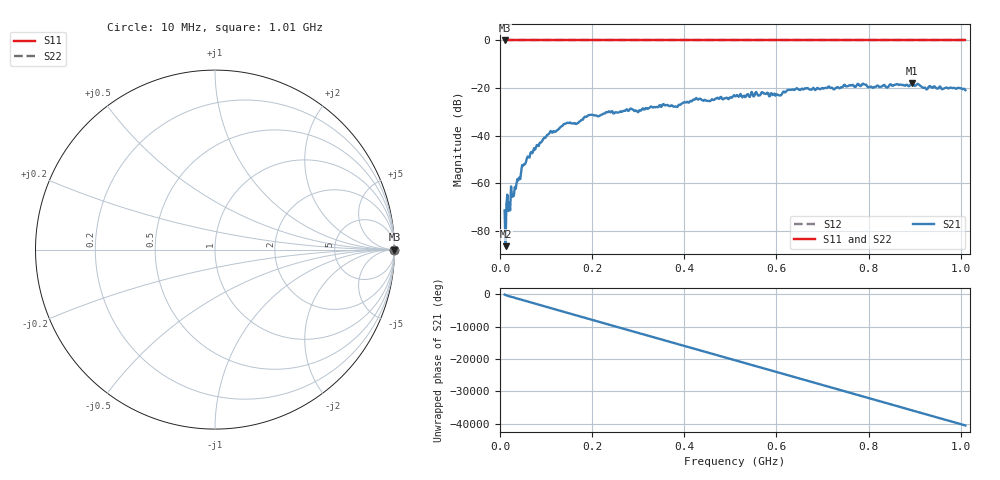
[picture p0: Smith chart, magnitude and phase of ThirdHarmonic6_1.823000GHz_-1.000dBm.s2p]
! 8/16/2025 10:05:30 PM
! C:\ANRITSUVNA\TEMP\TEMP.S2P
! CHANNEL.1
! TR.MEASUREMENT
! RAW.DATA
! RF.CORRECTION.OFF
! AVERAGING.OFF
! IF.BANDWIDTH: 5KHZ
! SWEEPTYPE:  FREQ.SWEEP(Linear)
! Reference Plane Port Info
! PORT:  PORT1  PORT2
! DISTANCE:  0  m  0  m
! TIME:  0  s  0  s
! PHASE.OFFSET:  0  deg.  0  deg.
! LOSS:  0  dB  0  dB
! REF.LOSS:  0  dB  0  dB
! REF.FREQ:  0  Hz  0  Hz
! Power Info
! POWER:  -20  dBm  -20  dBm
! EFF.POWER:  -20  dBm  -20  dBm
! SOURCE.ATTEN:  0  dB  0  dB
! TEST.ATTEN:  0  dB  0  dB
# GHZ S RI R 50.0
! FREQ.GHZ  S11RE  S11IM  S21RE  S21IM  S12RE  S12IM  S22RE  S22IM
!; PortSelection: Port_12
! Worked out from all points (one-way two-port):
!   501 points, 10 MHz to 1.01 GHz, reference 50 ohm
!   highest |S21| = -18.02 dB at 894 MHz (marker M1); lowest = -86.5 dB at 12 MHz (marker M2)
!   lowest |S11| = 0.0 dB at 10 MHz (marker M3)
!   |S11| at or under -10 dB: nowhere
!   |S22| runs from 0.0 to 0.0 dB; largest |S21 - S12| = 1.1
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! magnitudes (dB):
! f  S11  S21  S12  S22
! 10 MHz  0.0  -71.4  0.0  0.0
! 12 MHz  0.0  -86.5  0.0  0.0
! 30 MHz  0.0  -65.4  0.0  0.0
! 50 MHz  0.0  -52.6  0.0  0.0
! 70 MHz  0.0  -47.4  0.0  0.0
! 106 MHz  0.0  -39.2  0.0  0.0
! 142 MHz  0.0  -35.0  0.0  0.0
! 178 MHz  0.0  -33.3  0.0  0.0
! 196 MHz  0.0  -31.3  0.0  0.0
! 344 MHz  0.0  -28.0  0.0  0.0
! 382 MHz  0.0  -27.9  0.0  0.0
! 424 MHz  0.0  -24.6  0.0  0.0
! 452 MHz  0.0  -25.4  0.0  0.0
! 510 MHz  0.0  -23.5  0.0  0.0
! 606 MHz  0.0  -23.2  0.0  0.0
! 628 MHz  0.0  -20.8  0.0  0.0
! 678 MHz  0.0  -20.3  0.0  0.0
! 790 MHz  0.0  -18.5  0.0  0.0
! 844 MHz  0.0  -19.1  0.0  0.0
! 894 MHz  0.0  -18.0  0.0  0.0
! 924 MHz  0.0  -20.2  0.0  0.0
! 1.01 GHz  0.0  -20.9  0.0  0.0
